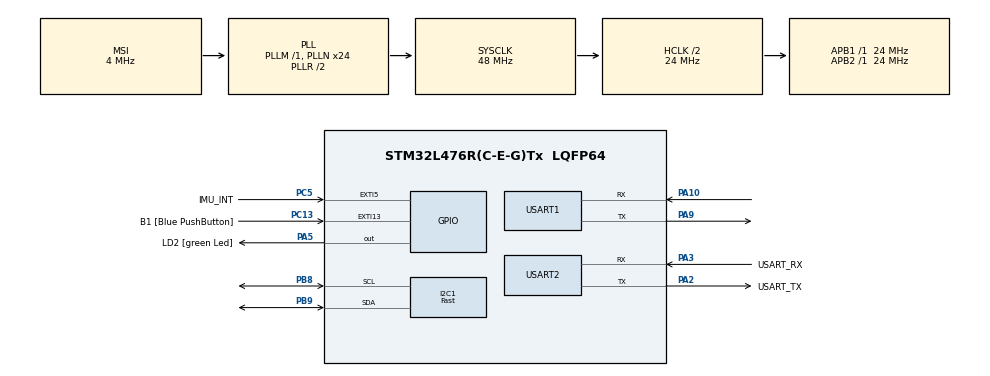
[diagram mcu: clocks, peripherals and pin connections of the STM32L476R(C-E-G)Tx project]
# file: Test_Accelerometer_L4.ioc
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Dma.I2C1_RX.0.Direction=DMA_PERIPH_TO_MEMORY
Dma.I2C1_RX.0.Instance=DMA1_Channel7
Dma.I2C1_RX.0.MemDataAlignment=DMA_MDATAALIGN_BYTE
Dma.I2C1_RX.0.MemInc=DMA_MINC_ENABLE
Dma.I2C1_RX.0.Mode=DMA_NORMAL
Dma.I2C1_RX.0.PeriphDataAlignment=DMA_PDATAALIGN_BYTE
Dma.I2C1_RX.0.PeriphInc=DMA_PINC_DISABLE
Dma.I2C1_RX.0.Priority=DMA_PRIORITY_LOW
Dma.Request0=I2C1_RX
I2C1.I2C_Coeff_DF=0
I2C1.I2C_Speed_Mode=I2C_Fast
I2C1.Speed=400
I2C1.Timing=0x00200C28
Mcu.Family=STM32L4
Mcu.Name=STM32L476R(C-E-G)Tx
Mcu.Package=LQFP64
NVIC.DMA1_Channel7_IRQn=true\:0\:0\:false\:false\:true\:false\:true
NVIC.EXTI9_5_IRQn=true\:0\:0\:false\:false\:true\:true\:true
NVIC.I2C1_EV_IRQn=true\:0\:0\:false\:false\:true\:true\:true
NVIC.PriorityGroup=NVIC_PRIORITYGROUP_4
PA10.Mode=Asynchronous
PA10.Signal=USART1_RX
PA13\ (JTMS-SWDIO).GPIO_Label=TMS
PA13\ (JTMS-SWDIO).Mode=Serial_Wire
PA13\ (JTMS-SWDIO).Signal=SYS_JTMS-SWDIO
PA14\ (JTCK-SWCLK).GPIO_Label=TCK
PA14\ (JTCK-SWCLK).Mode=Serial_Wire
PA14\ (JTCK-SWCLK).Signal=SYS_JTCK-SWCLK
PA2.GPIO_Label=USART_TX
PA2.GPIO_Mode=GPIO_MODE_AF_PP
PA2.GPIO_PuPd=GPIO_NOPULL
PA2.GPIO_Speed=GPIO_SPEED_FREQ_VERY_HIGH
PA2.Mode=Asynchronous
PA2.Signal=USART2_TX
PA3.GPIO_Label=USART_RX
PA3.GPIO_Mode=GPIO_MODE_AF_PP
PA3.GPIO_PuPd=GPIO_NOPULL
PA3.GPIO_Speed=GPIO_SPEED_FREQ_VERY_HIGH
PA3.Mode=Asynchronous
PA3.Signal=USART2_RX
PA5.GPIO_Label=LD2 [green Led]
PA5.GPIO_ModeDefaultOutputPP=GPIO_MODE_OUTPUT_PP
PA5.GPIO_PuPd=GPIO_NOPULL
PA5.GPIO_Speed=GPIO_SPEED_FREQ_LOW
PA5.Signal=GPIO_Output
PA9.Mode=Asynchronous
PA9.Signal=USART1_TX
PB3\ (JTDO-TRACESWO).GPIO_Label=SWO
PB3\ (JTDO-TRACESWO).Signal=SYS_JTDO-SWO
PB8.Mode=I2C
PB8.Signal=I2C1_SCL
PB9.Mode=I2C
PB9.Signal=I2C1_SDA
PC13.GPIO_Label=B1 [Blue PushButton]
PC13.GPIO_ModeDefaultEXTI=GPIO_MODE_IT_FALLING
PC13.GPIO_PuPd=GPIO_NOPULL
PC13.Signal=GPXTI13
PC14-OSC32_IN\ (PC14).Mode=LSE-External-Oscillator
PC14-OSC32_IN\ (PC14).Signal=RCC_OSC32_IN
PC15-OSC32_OUT\ (PC15).Mode=LSE-External-Oscillator
PC15-OSC32_OUT\ (PC15).Signal=RCC_OSC32_OUT
PC5.GPIO_Label=IMU_INT
PC5.GPIO_ModeDefaultEXTI=GPIO_MODE_IT_RISING
PC5.Signal=GPXTI5
PH0-OSC_IN\ (PH0).Mode=HSE-External-Oscillator
PH0-OSC_IN\ (PH0).Signal=RCC_OSC_IN
PH1-OSC_OUT\ (PH1).Mode=HSE-External-Oscillator
PH1-OSC_OUT\ (PH1).Signal=RCC_OSC_OUT
ProjectManager.HeapSize=0x200
ProjectManager.StackSize=0x400
ProjectManager.TargetToolchain=TrueSTUDIO
RCC.ADCFreq_Value=16000000
RCC.AHBCLKDivider=RCC_SYSCLK_DIV2
RCC.AHBFreq_Value=24000000
RCC.APB1Freq_Value=24000000
RCC.APB1TimFreq_Value=24000000
RCC.APB2Freq_Value=24000000
RCC.APB2TimFreq_Value=24000000
RCC.CortexFreq_Value=24000000
RCC.HCLKFreq_Value=24000000
RCC.HSE_VALUE=8000000
RCC.HSI_VALUE=16000000
RCC.MSI_VALUE=4000000
RCC.PLLN=24
RCC.PREFETCH_ENABLE=1
RCC.SYSCLKFreq_VALUE=48000000
RCC.SYSCLKSource=RCC_SYSCLKSOURCE_PLLCLK
RCC.USBFreq_Value=16000000
RCC.VCOOutputFreq_Value=96000000
USART1.VirtualMode-Asynchronous=VM_ASYNC
USART2.VirtualMode-Asynchronous=VM_ASYNC
board=NUCLEO-L476RG

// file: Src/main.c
/* USER CODE BEGIN Header */
/**
  ******************************************************************************
  * @file           : main.c
  * @brief          : Main program body
  ******************************************************************************
  * @attention
  *
  * <h2><center>&copy; Copyright (c) 2020 STMicroelectronics.
  * All rights reserved.</center></h2>
  *
  * This software component is licensed by ST under BSD 3-Clause license,
  * the "License"; You may not use this file except in compliance with the
  * License. You may obtain a copy of the License at:
  *                        opensource.org/licenses/BSD-3-Clause
  *
  ******************************************************************************
  */
/* USER CODE END Header */
#include "main.h"

/* USER CODE BEGIN Includes */

#include "HAL_MPU6050.h"
#include "stdio.h"
#include "stdlib.h"
#include "string.h"
/* USER CODE END Includes */

/* USER CODE BEGIN PTD */
typedef enum
{
	PASS,
	FAIL
} UT_result_t;
/* USER CODE END PTD */

I2C_HandleTypeDef hi2c1;
DMA_HandleTypeDef hdma_i2c1_rx;

UART_HandleTypeDef huart1;
UART_HandleTypeDef huart2;

void SystemClock_Config(void);
static void MX_GPIO_Init(void);
static void MX_DMA_Init(void);
static void MX_I2C1_Init(void);
static void MX_USART2_UART_Init(void);
static void MX_USART1_UART_Init(void);

/* USER CODE BEGIN 0 */
//----------------------------- TEST MODULES ----------------------------------//

UT_result_t AT001_Test_Connectivity(void)
{
	 mpu_status_t flag = MPU6050_Init_MPU(GYRO_CONFIG_FSSEL_500DPS,ACC_CONFIG_AFSSEL_2G,CONFIG_DLFP_1);

	  if(flag == MPU_OK)
	  {
		  return PASS;
	  }
		 return FAIL;
}

void AT002_Test_PowerMode(void)
{
	  MPU6050_Set_Cycle_Power_Mode(&hi2c1,PWR_MGMT_2_LP_WAKE_CTRL_40HZ);
	  uint8_t byte[2];
	  HAL_I2C_Mem_Read(&hi2c1,MPU_Device_Address,PWR_MGMT_1,1,byte,2,100);
	  MPU6050_Set_Low_Power_Mode_Acc(&hi2c1,(uint8_t)PWR_MGMT_2_LP_WAKE_CTRL_1_25HZ);
	  HAL_I2C_Mem_Read(&hi2c1,MPU_Device_Address,PWR_MGMT_1,1,byte,2,100);
	  MPU6050_Set_Sleep_Power_Mode(&hi2c1);
	  HAL_I2C_Mem_Read(&hi2c1,MPU_Device_Address,PWR_MGMT_1,1,byte,2,100);
	  MPU6050_Set_Wake(&hi2c1);
	  HAL_I2C_Mem_Read(&hi2c1,MPU_Device_Address,PWR_MGMT_1,1,byte,2,100);
}

/* USER CODE END 0 */

int main(void)
{

  /* MCU Configuration--------------------------------------------------------*/

  /* Reset of all peripherals, Initializes the Flash interface and the Systick. */

	HAL_Init();

  /* Configure the system clock */
  SystemClock_Config();

  /* Initialize all configured peripherals */
  MX_GPIO_Init();
  MX_DMA_Init();
  MX_I2C1_Init();
  MX_USART2_UART_Init();
  MX_USART1_UART_Init();
  /* USER CODE BEGIN 2 */

  char msg[1000];
  sprintf(msg, "IMU Test Started\r\n");
  HAL_UART_Transmit(&huart1, (uint8_t*)msg, strlen(msg), 100);

  mpu_status_t flag = MPU6050_Init_MPU(GYRO_CONFIG_FSSEL_500DPS,ACC_CONFIG_AFSSEL_2G,CONFIG_DLFP_1);

  if(flag == MPU_OK)
  {
	  HAL_GPIO_WritePin(LD2_GPIO_Port,LD2_Pin,SET);
  }else
  {
	  while(1)
	  {
		  HAL_GPIO_TogglePin(LD2_GPIO_Port,LD2_Pin);
		  HAL_Delay(500);
	  }
  }
  /* USER CODE END 2 */

  /* Infinite loop */
  /* USER CODE BEGIN WHILE */

  while (1)
  {

	  //read IMU data
	  char msg2[1000];
	  sprintf(msg2, "%.2f", A_x);
	  HAL_UART_Transmit(&huart1, (uint8_t*)msg2, strlen(msg), 100);
	  if(sample_count == N_Samples)
	  {
		  //reset signal path
		  MPU6050_Deinit_MPU();

	  }
    /* USER CODE END WHILE */

  }
}

void SystemClock_Config(void)
{
  RCC_OscInitTypeDef RCC_OscInitStruct = {0};
  RCC_ClkInitTypeDef RCC_ClkInitStruct = {0};
  RCC_PeriphCLKInitTypeDef PeriphClkInit = {0};

  /** Configure LSE Drive Capability
  */
  HAL_PWR_EnableBkUpAccess();
  __HAL_RCC_LSEDRIVE_CONFIG(RCC_LSEDRIVE_LOW);
  /** Initializes the RCC Oscillators according to the specified parameters
  * in the RCC_OscInitTypeDef structure.
  */
  RCC_OscInitStruct.OscillatorType = RCC_OSCILLATORTYPE_LSE|RCC_OSCILLATORTYPE_MSI;
  RCC_OscInitStruct.LSEState = RCC_LSE_ON;
  RCC_OscInitStruct.MSIState = RCC_MSI_ON;
  RCC_OscInitStruct.MSICalibrationValue = 0;
  RCC_OscInitStruct.MSIClockRange = RCC_MSIRANGE_6;
  RCC_OscInitStruct.PLL.PLLState = RCC_PLL_ON;
  RCC_OscInitStruct.PLL.PLLSource = RCC_PLLSOURCE_MSI;
  RCC_OscInitStruct.PLL.PLLM = 1;
  RCC_OscInitStruct.PLL.PLLN = 24;
  RCC_OscInitStruct.PLL.PLLP = RCC_PLLP_DIV7;
  RCC_OscInitStruct.PLL.PLLQ = RCC_PLLQ_DIV2;
  RCC_OscInitStruct.PLL.PLLR = RCC_PLLR_DIV2;
  if (HAL_RCC_OscConfig(&RCC_OscInitStruct) != HAL_OK)
  {
    Error_Handler();
  }
  /** Initializes the CPU, AHB and APB buses clocks
  */
  RCC_ClkInitStruct.ClockType = RCC_CLOCKTYPE_HCLK|RCC_CLOCKTYPE_SYSCLK
                              |RCC_CLOCKTYPE_PCLK1|RCC_CLOCKTYPE_PCLK2;
  RCC_ClkInitStruct.SYSCLKSource = RCC_SYSCLKSOURCE_PLLCLK;
  RCC_ClkInitStruct.AHBCLKDivider = RCC_SYSCLK_DIV2;
  RCC_ClkInitStruct.APB1CLKDivider = RCC_HCLK_DIV1;
  RCC_ClkInitStruct.APB2CLKDivider = RCC_HCLK_DIV1;

  if (HAL_RCC_ClockConfig(&RCC_ClkInitStruct, FLASH_LATENCY_1) != HAL_OK)
  {
    Error_Handler();
  }
  PeriphClkInit.PeriphClockSelection = RCC_PERIPHCLK_USART1|RCC_PERIPHCLK_USART2
                              |RCC_PERIPHCLK_I2C1;
  PeriphClkInit.Usart1ClockSelection = RCC_USART1CLKSOURCE_PCLK2;
  PeriphClkInit.Usart2ClockSelection = RCC_USART2CLKSOURCE_PCLK1;
  PeriphClkInit.I2c1ClockSelection = RCC_I2C1CLKSOURCE_PCLK1;
  if (HAL_RCCEx_PeriphCLKConfig(&PeriphClkInit) != HAL_OK)
  {
    Error_Handler();
  }
  /** Configure the main internal regulator output voltage
  */
  if (HAL_PWREx_ControlVoltageScaling(PWR_REGULATOR_VOLTAGE_SCALE1) != HAL_OK)
  {
    Error_Handler();
  }
  /** Enable MSI Auto calibration
  */
  HAL_RCCEx_EnableMSIPLLMode();
}

static void MX_I2C1_Init(void)
{

  hi2c1.Instance = I2C1;
  hi2c1.Init.Timing = 0x00200C28;
  hi2c1.Init.OwnAddress1 = 0;
  hi2c1.Init.AddressingMode = I2C_ADDRESSINGMODE_7BIT;
  hi2c1.Init.DualAddressMode = I2C_DUALADDRESS_DISABLE;
  hi2c1.Init.OwnAddress2 = 0;
  hi2c1.Init.OwnAddress2Masks = I2C_OA2_NOMASK;
  hi2c1.Init.GeneralCallMode = I2C_GENERALCALL_DISABLE;
  hi2c1.Init.NoStretchMode = I2C_NOSTRETCH_DISABLE;
  if (HAL_I2C_Init(&hi2c1) != HAL_OK)
  {
    Error_Handler();
  }
  /** Configure Analogue filter
  */
  if (HAL_I2CEx_ConfigAnalogFilter(&hi2c1, I2C_ANALOGFILTER_ENABLE) != HAL_OK)
  {
    Error_Handler();
  }
  /** Configure Digital filter
  */
  if (HAL_I2CEx_ConfigDigitalFilter(&hi2c1, 0) != HAL_OK)
  {
    Error_Handler();
  }

}

static void MX_USART1_UART_Init(void)
{

  huart1.Instance = USART1;
  huart1.Init.BaudRate = 115200;
  huart1.Init.WordLength = UART_WORDLENGTH_8B;
  huart1.Init.StopBits = UART_STOPBITS_1;
  huart1.Init.Parity = UART_PARITY_NONE;
  huart1.Init.Mode = UART_MODE_TX_RX;
  huart1.Init.HwFlowCtl = UART_HWCONTROL_NONE;
  huart1.Init.OverSampling = UART_OVERSAMPLING_16;
  huart1.Init.OneBitSampling = UART_ONE_BIT_SAMPLE_DISABLE;
  huart1.AdvancedInit.AdvFeatureInit = UART_ADVFEATURE_NO_INIT;
  if (HAL_UART_Init(&huart1) != HAL_OK)
  {
    Error_Handler();
  }

}

static void MX_USART2_UART_Init(void)
{

  huart2.Instance = USART2;
  huart2.Init.BaudRate = 115200;
  huart2.Init.WordLength = UART_WORDLENGTH_8B;
  huart2.Init.StopBits = UART_STOPBITS_1;
  huart2.Init.Parity = UART_PARITY_NONE;
  huart2.Init.Mode = UART_MODE_TX_RX;
  huart2.Init.HwFlowCtl = UART_HWCONTROL_NONE;
  huart2.Init.OverSampling = UART_OVERSAMPLING_16;
  huart2.Init.OneBitSampling = UART_ONE_BIT_SAMPLE_DISABLE;
  huart2.AdvancedInit.AdvFeatureInit = UART_ADVFEATURE_NO_INIT;
  if (HAL_UART_Init(&huart2) != HAL_OK)
  {
    Error_Handler();
  }

}

static void MX_DMA_Init(void)
{

  /* DMA controller clock enable */
  __HAL_RCC_DMA1_CLK_ENABLE();

  /* DMA interrupt init */
  /* DMA1_Channel7_IRQn interrupt configuration */
  HAL_NVIC_SetPriority(DMA1_Channel7_IRQn, 0, 0);
  HAL_NVIC_EnableIRQ(DMA1_Channel7_IRQn);

}

static void MX_GPIO_Init(void)
{
  GPIO_InitTypeDef GPIO_InitStruct = {0};

  /* GPIO Ports Clock Enable */
  __HAL_RCC_GPIOC_CLK_ENABLE();
  __HAL_RCC_GPIOH_CLK_ENABLE();
  __HAL_RCC_GPIOA_CLK_ENABLE();
  __HAL_RCC_GPIOB_CLK_ENABLE();

  /*Configure GPIO pin Output Level */
  HAL_GPIO_WritePin(LD2_GPIO_Port, LD2_Pin, GPIO_PIN_RESET);

  /*Configure GPIO pin : B1_Pin */
  GPIO_InitStruct.Pin = B1_Pin;
  GPIO_InitStruct.Mode = GPIO_MODE_IT_FALLING;
  GPIO_InitStruct.Pull = GPIO_NOPULL;
  HAL_GPIO_Init(B1_GPIO_Port, &GPIO_InitStruct);

  /*Configure GPIO pin : LD2_Pin */
  GPIO_InitStruct.Pin = LD2_Pin;
  GPIO_InitStruct.Mode = GPIO_MODE_OUTPUT_PP;
  GPIO_InitStruct.Pull = GPIO_NOPULL;
  GPIO_InitStruct.Speed = GPIO_SPEED_FREQ_LOW;
  HAL_GPIO_Init(LD2_GPIO_Port, &GPIO_InitStruct);

  /*Configure GPIO pin : IMU_INT_Pin */
  GPIO_InitStruct.Pin = IMU_INT_Pin;
  GPIO_InitStruct.Mode = GPIO_MODE_IT_RISING;
  GPIO_InitStruct.Pull = GPIO_NOPULL;
  HAL_GPIO_Init(IMU_INT_GPIO_Port, &GPIO_InitStruct);

  /* EXTI interrupt init*/
  HAL_NVIC_SetPriority(EXTI9_5_IRQn, 0, 0);
  HAL_NVIC_EnableIRQ(EXTI9_5_IRQn);

}

void Error_Handler(void)
{
}

/************************ (C) COPYRIGHT STMicroelectronics *****END OF FILE****/
